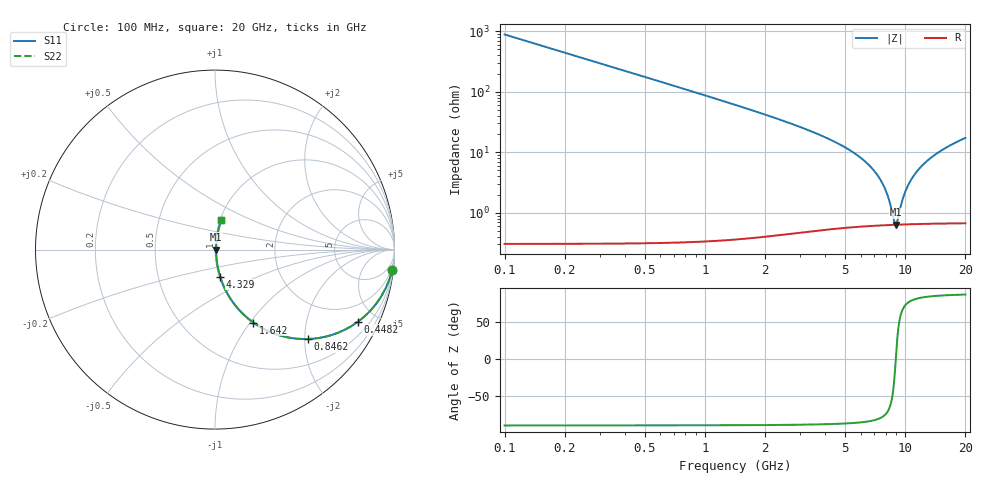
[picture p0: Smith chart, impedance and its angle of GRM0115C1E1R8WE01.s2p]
!Murata Part Number: GRM0115C1E1R8WE01
!These Parameters are Measured in Series Mode Connection
!Data Generated on Mar 30, 2021
!  o--ll--o
!Port1  Port2
!  o------o
!Operation Temp=25[degC], DC Bias Voltage=0[V]
!Freq. Start=100[MHz] Stop=20[GHz] 401[Steps]
# Hz S RI R 50
!Freq.(Hz) S11(Real) S11(Imag) S21(Real) S21(Imag) S12(Real) S12(Imag) S22(Real) S22(Imag)
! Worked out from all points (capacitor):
!   401 points, 100 MHz to 20 GHz, reference 50 ohm
!   read as one part in series: C = 1.8 pF near 199.5 MHz
!   lowest |Z| = 636 mohm at 9.005 GHz (marker M1)
!   series resonance near 8.982 GHz, so ESL is about 170 pH
!   S11 on the Smith chart (normalised r, x): 100 MHz: 1, -18; 448.2 MHz: 1.01, -3.93; 846.2 MHz: 1.01, -2.07; 1.642 GHz: 1.01, -1.04; 4.329 GHz: 1.01, -0.31; 20 GHz: 1.01, +0.35
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1e8  0.9873 -0.1117  0.0127 0.1117  0.0127 0.1117  0.9873 -0.1117
2.99e8  0.8969 -0.3036  0.1031 0.3036  0.1031 0.3036  0.8969 -0.3036
4.4825e8  0.7943 -0.4034  0.2057 0.4034  0.2057 0.4034  0.7943 -0.4034
8.4625e8  0.517 -0.4981  0.483 0.4981  0.483 0.4981  0.517 -0.4981
1.1945e9  0.3459 -0.4733  0.6541 0.4733  0.6541 0.4733  0.3459 -0.4733
1.64225e9  0.214 -0.4065  0.786 0.4065  0.786 0.4065  0.214 -0.4065
2.3885e9  0.1081 -0.3043  0.8919 0.3043  0.8919 0.3043  0.1081 -0.3043
3.43325e9  0.0498 -0.2066  0.9502 0.2066  0.9502 0.2066  0.0498 -0.2066
4.32875e9  0.0286 -0.1503  0.9714 0.1503  0.9714 0.1503  0.0286 -0.1503
6.7665e9  0.00907 -0.0551  0.9909 0.0551  0.9909 0.0551  0.00907 -0.0551
7.9605e9  0.00673 -0.0233  0.9933 0.0233  0.9933 0.0233  0.00673 -0.0233
8.3585e9  0.00643 -0.0138  0.9936 0.0138  0.9936 0.0138  0.00643 -0.0138
8.856e9  0.00629 -0.00272  0.9937 0.00272  0.9937 0.00272  0.00629 -0.00272
9.00525e9  0.0063 0.000498  0.9937 -0.000498  0.9937 -0.000498  0.0063 0.000498
9.1545e9  0.00632 0.00366  0.9937 -0.00366  0.9937 -0.00366  0.00632 0.00366
9.652e9  0.00654 0.0138  0.9935 -0.0138  0.9935 -0.0138  0.00654 0.0138
1.005e10  0.00685 0.0216  0.9932 -0.0216  0.9932 -0.0216  0.00685 0.0216
1.059725e10  0.00744 0.0319  0.9926 -0.0319  0.9926 -0.0319  0.00744 0.0319
1.13435e10  0.00851 0.0452  0.9915 -0.0452  0.9915 -0.0452  0.00851 0.0452
1.338325e10  0.0127 0.0781  0.9873 -0.0781  0.9873 -0.0781  0.0127 0.0781
1.67165e10  0.0226 0.125  0.9774 -0.125  0.9774 -0.125  0.0226 0.125
2e10  0.0351 0.1657  0.9649 -0.1657  0.9649 -0.1657  0.0351 0.1657
